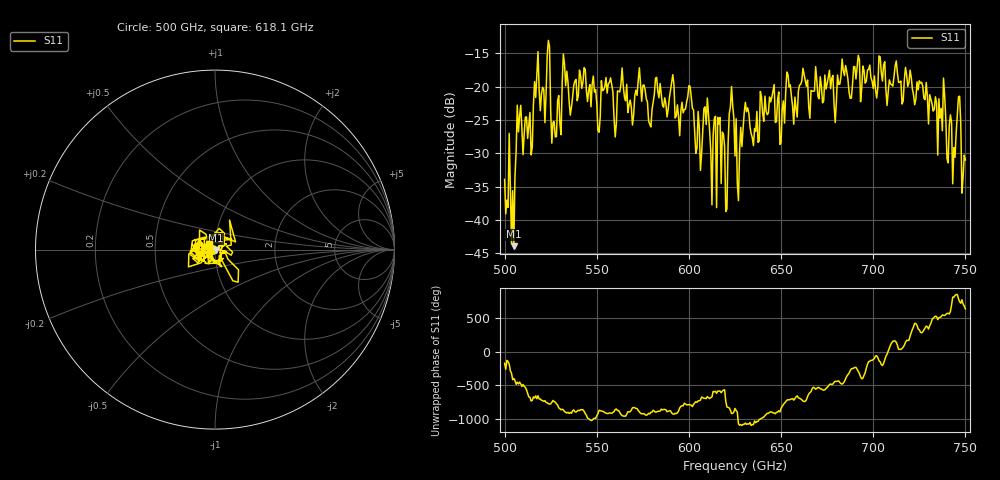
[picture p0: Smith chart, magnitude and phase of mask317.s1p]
!Created with skrf (http://scikit-rf.org).
# GHz S MA R 50.0
!freq magS11 angS11
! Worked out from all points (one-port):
!   401 points, 500 GHz to 750 GHz, reference 50 ohm
!   lowest |S11| = -43.9 dB at 505 GHz (marker M1), VSWR 1.01, Z = 50.5 - j0.384 ohm
!   |S11| at or under -10 dB: start of sweep to end of sweep
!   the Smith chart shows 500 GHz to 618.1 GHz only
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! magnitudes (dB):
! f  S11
! 500 GHz  -33.9
! 505 GHz  -43.9
! 508.1 GHz  -24.4
! 513.8 GHz  -23.9
! 516.9 GHz  -21.6
! 523.8 GHz  -13.0
! 526.9 GHz  -25.2
! 531.2 GHz  -19.3
! 550.6 GHz  -26.5
! 562.5 GHz  -20.8
! 579.4 GHz  -26.0
! 590.6 GHz  -19.4
! 593.8 GHz  -22.7
! 600.6 GHz  -19.9
! 605.6 GHz  -26.2
! 609.4 GHz  -25.7
! 620 GHz  -38.7
! 623.1 GHz  -20.0
! 625 GHz  -30.4
! 627.5 GHz  -29.6
! 631.2 GHz  -23.8
! 635 GHz  -28.8
! 656.2 GHz  -22.9
! 687.5 GHz  -21.7
! 718.8 GHz  -19.9
! 743.8 GHz  -29.1
! 746.2 GHz  -21.5
! 750 GHz  -31.0
